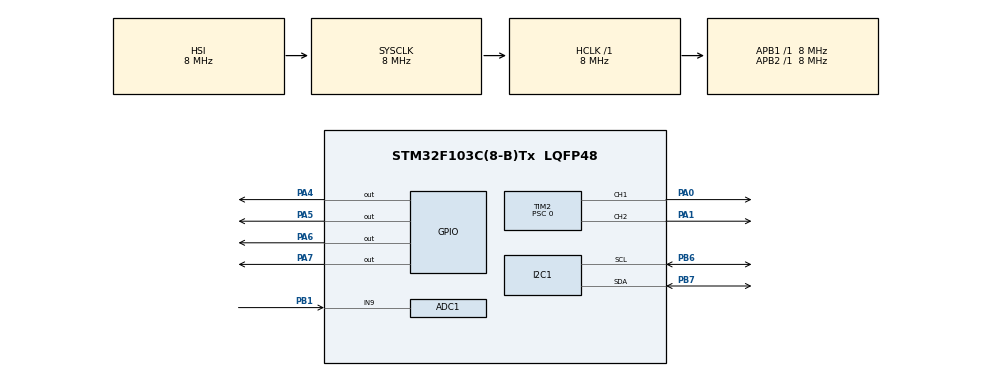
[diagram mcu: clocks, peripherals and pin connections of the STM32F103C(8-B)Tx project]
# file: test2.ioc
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ADC1.Channel-0\#ChannelRegularConversion=ADC_CHANNEL_9
ADC1.ContinuousConvMode=ENABLE
ADC1.NbrOfConversionFlag=1
ADC1.Rank-0\#ChannelRegularConversion=1
ADC1.SamplingTime-0\#ChannelRegularConversion=ADC_SAMPLETIME_1CYCLE_5
ADC1.master=1
Mcu.Family=STM32F1
Mcu.Name=STM32F103C(8-B)Tx
Mcu.Package=LQFP48
NVIC.PriorityGroup=NVIC_PRIORITYGROUP_4
PA0-WKUP.Signal=S_TIM2_CH1_ETR
PA1.Signal=S_TIM2_CH2
PA13.Mode=Serial_Wire
PA13.Signal=SYS_JTMS-SWDIO
PA14.Mode=Serial_Wire
PA14.Signal=SYS_JTCK-SWCLK
PA4.Signal=GPIO_Output
PA5.Signal=GPIO_Output
PA6.Signal=GPIO_Output
PA7.Signal=GPIO_Output
PB1.Signal=ADCx_IN9
PB6.Mode=I2C
PB6.Signal=I2C1_SCL
PB7.Mode=I2C
PB7.Signal=I2C1_SDA
ProjectManager.HeapSize=0x200
ProjectManager.StackSize=0x400
ProjectManager.TargetToolchain=STM32CubeIDE
RCC.AHBFreq_Value=8000000
RCC.APB1Freq_Value=8000000
RCC.APB1TimFreq_Value=8000000
RCC.APB2Freq_Value=8000000
RCC.APB2TimFreq_Value=8000000
RCC.HCLKFreq_Value=8000000
RCC.SYSCLKFreq_VALUE=8000000
RCC.USBFreq_Value=8000000
SH.ADCx_IN9.0=ADC1_IN9,IN9
SH.S_TIM2_CH1_ETR.0=TIM2_CH1,PWM Generation1 CH1
SH.S_TIM2_CH2.0=TIM2_CH2,PWM Generation2 CH2
TIM2.Channel-PWM\ Generation1\ CH1=TIM_CHANNEL_1
TIM2.Channel-PWM\ Generation2\ CH2=TIM_CHANNEL_2
TIM2.Period=399
TIM2.Prescaler=0
VP_TIM2_VS_ClockSourceINT.Mode=Internal
board=custom

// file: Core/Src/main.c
/* USER CODE BEGIN Header */
/**
  ******************************************************************************
  * @file           : main.c
  * @brief          : Main program body
  ******************************************************************************
  * @attention
  *
  * Copyright (c) 2024 STMicroelectronics.
  * All rights reserved.
  *
  * This software is licensed under terms that can be found in the LICENSE file
  * in the root directory of this software component.
  * If no LICENSE file comes with this software, it is provided AS-IS.
  *
  ******************************************************************************
  */
/* USER CODE END Header */
#include "main.h"

/* USER CODE BEGIN Includes */

#include <stdio.h>
#include "mpu6050.h"

/* USER CODE END Includes */

ADC_HandleTypeDef hadc1;

I2C_HandleTypeDef hi2c1;

TIM_HandleTypeDef htim2;

void SystemClock_Config(void);
static void MX_GPIO_Init(void);
static void MX_ADC1_Init(void);
static void MX_I2C1_Init(void);
static void MX_TIM2_Init(void);

int main(void)
{

  /* MCU Configuration--------------------------------------------------------*/

  /* Reset of all peripherals, Initializes the Flash interface and the Systick. */
  HAL_Init();

  /* Configure the system clock */
  SystemClock_Config();

  /* Initialize all configured peripherals */
  MX_GPIO_Init();
  MX_ADC1_Init();
  MX_I2C1_Init();
  MX_TIM2_Init();
  /* USER CODE BEGIN 2 */
  HAL_TIM_PWM_Start(&htim2, TIM_CHANNEL_1);
  HAL_TIM_PWM_Start(&htim2, TIM_CHANNEL_2);
  mpu6050_init();
  HAL_TIM_Base_Start(&htim2);

  HAL_GPIO_WritePin(GPIOA, GPIO_PIN_4, 0);
  HAL_GPIO_WritePin(GPIOA, GPIO_PIN_5, 0);
  HAL_GPIO_WritePin(GPIOA, GPIO_PIN_6, 0);
  HAL_GPIO_WritePin(GPIOA, GPIO_PIN_7, 0);

  float Kp = 1.0;  // Proportional gain
  float Ki = 0.0;  // Integral gain
  float Kd = 0.0;  // Derivative gain
  float value = 0;
  /* USER CODE END 2 */

  /* Infinite loop */
  /* USER CODE BEGIN WHILE */
  while (1)
  {
	  value = mpu6050_read();
	  HAL_Delay(10);
    /* USER CODE END WHILE */

  }
}

void SystemClock_Config(void)
{
  RCC_OscInitTypeDef RCC_OscInitStruct = {0};
  RCC_ClkInitTypeDef RCC_ClkInitStruct = {0};
  RCC_PeriphCLKInitTypeDef PeriphClkInit = {0};

  /** Initializes the RCC Oscillators according to the specified parameters
  * in the RCC_OscInitTypeDef structure.
  */
  RCC_OscInitStruct.OscillatorType = RCC_OSCILLATORTYPE_HSI;
  RCC_OscInitStruct.HSIState = RCC_HSI_ON;
  RCC_OscInitStruct.HSICalibrationValue = RCC_HSICALIBRATION_DEFAULT;
  RCC_OscInitStruct.PLL.PLLState = RCC_PLL_NONE;
  if (HAL_RCC_OscConfig(&RCC_OscInitStruct) != HAL_OK)
  {
    Error_Handler();
  }

  /** Initializes the CPU, AHB and APB buses clocks
  */
  RCC_ClkInitStruct.ClockType = RCC_CLOCKTYPE_HCLK|RCC_CLOCKTYPE_SYSCLK
                              |RCC_CLOCKTYPE_PCLK1|RCC_CLOCKTYPE_PCLK2;
  RCC_ClkInitStruct.SYSCLKSource = RCC_SYSCLKSOURCE_HSI;
  RCC_ClkInitStruct.AHBCLKDivider = RCC_SYSCLK_DIV1;
  RCC_ClkInitStruct.APB1CLKDivider = RCC_HCLK_DIV1;
  RCC_ClkInitStruct.APB2CLKDivider = RCC_HCLK_DIV1;

  if (HAL_RCC_ClockConfig(&RCC_ClkInitStruct, FLASH_LATENCY_0) != HAL_OK)
  {
    Error_Handler();
  }
  PeriphClkInit.PeriphClockSelection = RCC_PERIPHCLK_ADC;
  PeriphClkInit.AdcClockSelection = RCC_ADCPCLK2_DIV2;
  if (HAL_RCCEx_PeriphCLKConfig(&PeriphClkInit) != HAL_OK)
  {
    Error_Handler();
  }
}

static void MX_ADC1_Init(void)
{

  ADC_ChannelConfTypeDef sConfig = {0};

  /** Common config
  */
  hadc1.Instance = ADC1;
  hadc1.Init.ScanConvMode = ADC_SCAN_DISABLE;
  hadc1.Init.ContinuousConvMode = ENABLE;
  hadc1.Init.DiscontinuousConvMode = DISABLE;
  hadc1.Init.ExternalTrigConv = ADC_SOFTWARE_START;
  hadc1.Init.DataAlign = ADC_DATAALIGN_RIGHT;
  hadc1.Init.NbrOfConversion = 1;
  if (HAL_ADC_Init(&hadc1) != HAL_OK)
  {
    Error_Handler();
  }

  /** Configure Regular Channel
  */
  sConfig.Channel = ADC_CHANNEL_9;
  sConfig.Rank = ADC_REGULAR_RANK_1;
  sConfig.SamplingTime = ADC_SAMPLETIME_1CYCLE_5;
  if (HAL_ADC_ConfigChannel(&hadc1, &sConfig) != HAL_OK)
  {
    Error_Handler();
  }

}

static void MX_I2C1_Init(void)
{

  hi2c1.Instance = I2C1;
  hi2c1.Init.ClockSpeed = 100000;
  hi2c1.Init.DutyCycle = I2C_DUTYCYCLE_2;
  hi2c1.Init.OwnAddress1 = 0;
  hi2c1.Init.AddressingMode = I2C_ADDRESSINGMODE_7BIT;
  hi2c1.Init.DualAddressMode = I2C_DUALADDRESS_DISABLE;
  hi2c1.Init.OwnAddress2 = 0;
  hi2c1.Init.GeneralCallMode = I2C_GENERALCALL_DISABLE;
  hi2c1.Init.NoStretchMode = I2C_NOSTRETCH_DISABLE;
  if (HAL_I2C_Init(&hi2c1) != HAL_OK)
  {
    Error_Handler();
  }

}

static void MX_TIM2_Init(void)
{

  TIM_ClockConfigTypeDef sClockSourceConfig = {0};
  TIM_MasterConfigTypeDef sMasterConfig = {0};
  TIM_OC_InitTypeDef sConfigOC = {0};

  htim2.Instance = TIM2;
  htim2.Init.Prescaler = 0;
  htim2.Init.CounterMode = TIM_COUNTERMODE_UP;
  htim2.Init.Period = 399;
  htim2.Init.ClockDivision = TIM_CLOCKDIVISION_DIV1;
  htim2.Init.AutoReloadPreload = TIM_AUTORELOAD_PRELOAD_DISABLE;
  if (HAL_TIM_Base_Init(&htim2) != HAL_OK)
  {
    Error_Handler();
  }
  sClockSourceConfig.ClockSource = TIM_CLOCKSOURCE_INTERNAL;
  if (HAL_TIM_ConfigClockSource(&htim2, &sClockSourceConfig) != HAL_OK)
  {
    Error_Handler();
  }
  if (HAL_TIM_PWM_Init(&htim2) != HAL_OK)
  {
    Error_Handler();
  }
  sMasterConfig.MasterOutputTrigger = TIM_TRGO_RESET;
  sMasterConfig.MasterSlaveMode = TIM_MASTERSLAVEMODE_DISABLE;
  if (HAL_TIMEx_MasterConfigSynchronization(&htim2, &sMasterConfig) != HAL_OK)
  {
    Error_Handler();
  }
  sConfigOC.OCMode = TIM_OCMODE_PWM1;
  sConfigOC.Pulse = 0;
  sConfigOC.OCPolarity = TIM_OCPOLARITY_HIGH;
  sConfigOC.OCFastMode = TIM_OCFAST_DISABLE;
  if (HAL_TIM_PWM_ConfigChannel(&htim2, &sConfigOC, TIM_CHANNEL_1) != HAL_OK)
  {
    Error_Handler();
  }
  if (HAL_TIM_PWM_ConfigChannel(&htim2, &sConfigOC, TIM_CHANNEL_2) != HAL_OK)
  {
    Error_Handler();
  }
  HAL_TIM_MspPostInit(&htim2);

}

static void MX_GPIO_Init(void)
{
  GPIO_InitTypeDef GPIO_InitStruct = {0};

  /* GPIO Ports Clock Enable */
  __HAL_RCC_GPIOA_CLK_ENABLE();
  __HAL_RCC_GPIOB_CLK_ENABLE();

  /*Configure GPIO pin Output Level */
  HAL_GPIO_WritePin(GPIOA, GPIO_PIN_4|GPIO_PIN_5|GPIO_PIN_6|GPIO_PIN_7, GPIO_PIN_RESET);

  /*Configure GPIO pins : PA4 PA5 PA6 PA7 */
  GPIO_InitStruct.Pin = GPIO_PIN_4|GPIO_PIN_5|GPIO_PIN_6|GPIO_PIN_7;
  GPIO_InitStruct.Mode = GPIO_MODE_OUTPUT_PP;
  GPIO_InitStruct.Pull = GPIO_NOPULL;
  GPIO_InitStruct.Speed = GPIO_SPEED_FREQ_LOW;
  HAL_GPIO_Init(GPIOA, &GPIO_InitStruct);

}

void Error_Handler(void)
{
  __disable_irq();
  while (1)
  {
  }
}
